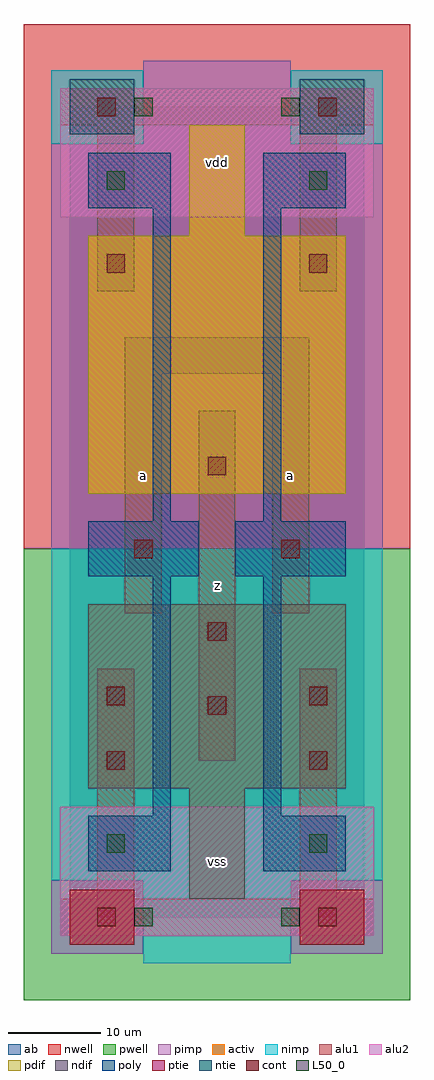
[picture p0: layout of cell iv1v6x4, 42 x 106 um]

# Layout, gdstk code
import gdstk
lib = gdstk.Library(unit=1e-6, precision=1e-09)
def R(c, l, rs):  # rectangles x0, y0, x1, y1
    for r in rs: c.add(gdstk.rectangle(r[:2], r[2:], *l))
ndif = (3, 0)
pdif = (4, 0)
ntie = (5, 0)
ptie = (6, 0)
cont = (25, 0)
pwell = (41, 0)
nwell = (42, 0)
activ = (43, 0)
pimp = (44, 0)
nimp = (45, 0)
poly = (46, 0)
alu1 = (49, 0)
L50_0 = (50, 0)
alu2 = (51, 0)
ab = (63, 0)

iv1v6x4 = lib.new_cell('iv1v6x4')
R(iv1v6x4, ndif, [(13,2,19,14), (2,14,30,34)])
R(iv1v6x4, pdif, [(2,46,30,74), (13,74,19,86)])
R(iv1v6x4, ntie, [(0,85,7,91), (25,85,32,91)])
R(iv1v6x4, ptie, [(0,-3,7,3), (25,-3,32,3)])
R(iv1v6x4, cont, [(3,-1,5,1), (27,-1,29,1), (4,16,6,18), (26,16,28,18), (15,22,17,24), (4,23,6,25), (26,23,28,25), (15,30,17,32), (7,39,9,41), (23,39,25,41), (15,48,17,50), (4,70,6,72), (26,70,28,72), (3,87,5,89), (27,87,29,89)])
R(iv1v6x4, pwell, [(-5,-9,37,40)])
R(iv1v6x4, nwell, [(-5,40,37,97)])
R(iv1v6x4, activ, [(0,-3,7,3), (25,-3,32,3), (13,2,19,14), (2,14,30,34), (2,46,30,74), (13,74,19,86), (0,85,7,91), (25,85,32,91)])
R(iv1v6x4, pimp, [(-2,-4,8,4), (24,-4,34,4), (-2,40,34,84), (8,84,24,93)])
R(iv1v6x4, nimp, [(8,-5,24,4), (-2,4,34,40), (-2,84,8,92), (24,84,34,92)])
R(iv1v6x4, poly, [(2,5,11,11), (21,5,30,11), (9,11,11,37), (21,11,23,37), (2,37,14,43), (18,37,30,43), (9,43,11,77), (21,43,23,77), (2,77,11,83), (21,77,30,83)])
R(iv1v6x4, alu1, [(-1,-2,33,2), (3,2,7,27), (25,2,29,27), (14,17,18,55), (6,33,10,59), (22,33,26,59), (6,59,26,63), (3,68,7,86), (25,68,29,86), (-1,86,33,90)])
R(iv1v6x4, L50_0, [(7,-1,9,1), (23,-1,25,1), (4,7,6,9), (26,7,28,9), (4,79,6,81), (26,79,28,81), (7,87,9,89), (23,87,25,89)])
R(iv1v6x4, alu2, [(-1,-2,33,12), (-1,76,33,90)])
R(iv1v6x4, ab, [(0,0,32,88)])
iv1v6x4.add(gdstk.Label('a', (8,48), layer=49, texttype=0))
iv1v6x4.add(gdstk.Label('z', (16,36), layer=49, texttype=0))
iv1v6x4.add(gdstk.Label('a', (24,48), layer=49, texttype=0))
iv1v6x4.add(gdstk.Label('vss', (16,6), layer=51, texttype=0))
iv1v6x4.add(gdstk.Label('vss', (16,6), layer=51, texttype=0))
iv1v6x4.add(gdstk.Label('vdd', (16,82), layer=51, texttype=0))

lib.write_gds('iv1v6x4.gds')
